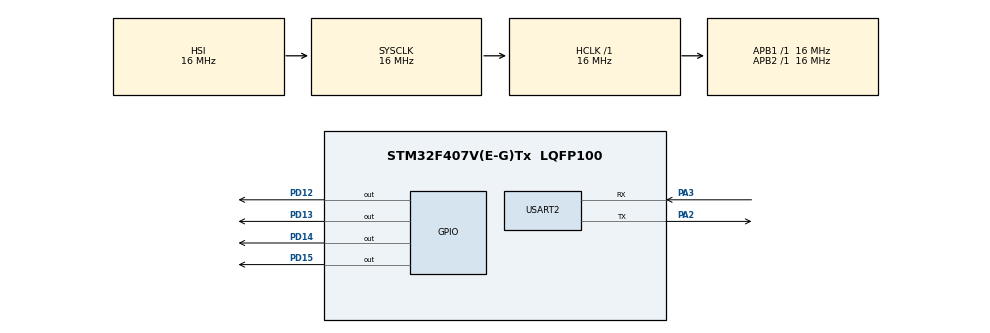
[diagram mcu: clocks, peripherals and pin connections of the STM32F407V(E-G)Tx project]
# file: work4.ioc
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Mcu.Family=STM32F4
Mcu.Name=STM32F407V(E-G)Tx
Mcu.Package=LQFP100
NVIC.PriorityGroup=NVIC_PRIORITYGROUP_4
PA2.Mode=Asynchronous
PA2.Signal=USART2_TX
PA3.Mode=Asynchronous
PA3.Signal=USART2_RX
PD12.Signal=GPIO_Output
PD13.Signal=GPIO_Output
PD14.Signal=GPIO_Output
PD15.Signal=GPIO_Output
ProjectManager.HeapSize=0x200
ProjectManager.StackSize=0x400
ProjectManager.TargetToolchain=STM32CubeIDE
RCC.AHBFreq_Value=16000000
RCC.APB1Freq_Value=16000000
RCC.APB2Freq_Value=16000000
RCC.CortexFreq_Value=16000000
RCC.HSE_VALUE=25000000
RCC.HSI_VALUE=16000000
RCC.LSE_VALUE=32768
RCC.SYSCLKFreq_VALUE=16000000
RCC.VCOOutputFreq_Value=192000000
USART2.VirtualMode=VM_ASYNC
board=custom

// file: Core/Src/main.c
/* USER CODE BEGIN Header */
/**
  ******************************************************************************
  * @file           : main.c
  * @brief          : Main program body
  ******************************************************************************
  * @attention
  *
  * Copyright (c) 2023 STMicroelectronics.
  * All rights reserved.
  *
  * This software is licensed under terms that can be found in the LICENSE file
  * in the root directory of this software component.
  * If no LICENSE file comes with this software, it is provided AS-IS.
  *
  ******************************************************************************
  */
/* USER CODE END Header */
#include "main.h"

UART_HandleTypeDef huart2;

void SystemClock_Config(void);
static void MX_GPIO_Init(void);
static void MX_USART2_UART_Init(void);

int main(void)
{

  /* MCU Configuration--------------------------------------------------------*/

  /* Reset of all peripherals, Initializes the Flash interface and the Systick. */
  HAL_Init();

  /* Configure the system clock */
  SystemClock_Config();

  /* Initialize all configured peripherals */
  MX_GPIO_Init();
  MX_USART2_UART_Init();

  /* Infinite loop */
  /* USER CODE BEGIN WHILE */
  while (1)
  {
	 uint8_t rcvBuf[1];
	 HAL_StatusTypeDef result;

	 result = HAL_UART_Receive(&huart2, rcvBuf, 1, 10);

	 if (result == HAL_OK)
	 {
		 switch (rcvBuf[0])
		 {
		 	 case 'q':
		 		 HAL_GPIO_WritePin(GPIOD, GPIO_PIN_15, GPIO_PIN_SET);
		 		 HAL_UART_Transmit(&huart2, (uint8_t *)" - Blue rgb ON\r\n", 16, HAL_MAX_DELAY);
		 		 break;
		 	 case 'a':
		 		 HAL_GPIO_WritePin(GPIOD, GPIO_PIN_15, GPIO_PIN_RESET);
		 		 HAL_UART_Transmit(&huart2, (uint8_t *)" - Blue rgb OFF\r\n", 17, HAL_MAX_DELAY);
		 		 break;
		 	 case 'w':
		 		 HAL_GPIO_WritePin(GPIOD, GPIO_PIN_14, GPIO_PIN_SET);
		 		 HAL_UART_Transmit(&huart2, (uint8_t *)" - Red rgb ON\r\n", 15, HAL_MAX_DELAY);
		 		 break;
		 	 case 's':
		 		 HAL_GPIO_WritePin(GPIOD, GPIO_PIN_14, GPIO_PIN_RESET);
		 		 HAL_UART_Transmit(&huart2, (uint8_t *)" - Red rgb OFF\r\n", 16, HAL_MAX_DELAY);
		 		 break;
		 	 case 'e':
		 		 HAL_GPIO_WritePin(GPIOD, GPIO_PIN_13, GPIO_PIN_SET);
		 		 HAL_UART_Transmit(&huart2, (uint8_t *)" - Orange rgb ON\r\n", 18, HAL_MAX_DELAY);
		 		 break;
		 	 case 'd':
		 		 HAL_GPIO_WritePin(GPIOD, GPIO_PIN_13, GPIO_PIN_RESET);
		 		 HAL_UART_Transmit(&huart2, (uint8_t *)" - Orange rgb OFF\r\n", 19, HAL_MAX_DELAY);
		 		 break;
		 	 case 'r':
		 		 HAL_GPIO_WritePin(GPIOD, GPIO_PIN_12, GPIO_PIN_SET);
		 		 HAL_UART_Transmit(&huart2, (uint8_t *)" - Green rgb ON\r\n", 17, HAL_MAX_DELAY);
		 		 break;
		 	 case 'f':
		 		 HAL_GPIO_WritePin(GPIOD, GPIO_PIN_12, GPIO_PIN_RESET);
		 		 HAL_UART_Transmit(&huart2, (uint8_t *)" - Green rgb OFF\r\n", 18, HAL_MAX_DELAY);
		 		 break;
		 	 case 't':
		 		 HAL_GPIO_WritePin(GPIOD, GPIO_PIN_12, GPIO_PIN_SET);
		 		 HAL_GPIO_WritePin(GPIOD, GPIO_PIN_13, GPIO_PIN_SET);
		 		 HAL_GPIO_WritePin(GPIOD, GPIO_PIN_14, GPIO_PIN_SET);
		 		 HAL_GPIO_WritePin(GPIOD, GPIO_PIN_15, GPIO_PIN_SET);
		 		 HAL_UART_Transmit(&huart2, (uint8_t *)" - ALL rgb diodes ON\r\n", 22, HAL_MAX_DELAY);
		 		 break;
		 	 case 'g':
		 		 HAL_GPIO_WritePin(GPIOD, GPIO_PIN_12, GPIO_PIN_RESET);
		 		 HAL_GPIO_WritePin(GPIOD, GPIO_PIN_13, GPIO_PIN_RESET);
		 		 HAL_GPIO_WritePin(GPIOD, GPIO_PIN_14, GPIO_PIN_RESET);
		 		 HAL_GPIO_WritePin(GPIOD, GPIO_PIN_15, GPIO_PIN_RESET);
		 		 HAL_UART_Transmit(&huart2, (uint8_t *)" - ALL rgb diodes OFF\r\n", 23, HAL_MAX_DELAY);
		 		 break;
		 	 default:
		 		 HAL_UART_Transmit(&huart2, (uint8_t *)" - Worng cmd\r\n", 11, HAL_MAX_DELAY);
		 		 break;

		 }

	 }

    /* USER CODE END WHILE */

  }
}

void SystemClock_Config(void)
{
  RCC_OscInitTypeDef RCC_OscInitStruct = {0};
  RCC_ClkInitTypeDef RCC_ClkInitStruct = {0};

  /** Configure the main internal regulator output voltage
  */
  __HAL_RCC_PWR_CLK_ENABLE();
  __HAL_PWR_VOLTAGESCALING_CONFIG(PWR_REGULATOR_VOLTAGE_SCALE1);

  /** Initializes the RCC Oscillators according to the specified parameters
  * in the RCC_OscInitTypeDef structure.
  */
  RCC_OscInitStruct.OscillatorType = RCC_OSCILLATORTYPE_HSI;
  RCC_OscInitStruct.HSIState = RCC_HSI_ON;
  RCC_OscInitStruct.HSICalibrationValue = RCC_HSICALIBRATION_DEFAULT;
  RCC_OscInitStruct.PLL.PLLState = RCC_PLL_NONE;
  if (HAL_RCC_OscConfig(&RCC_OscInitStruct) != HAL_OK)
  {
    Error_Handler();
  }

  /** Initializes the CPU, AHB and APB buses clocks
  */
  RCC_ClkInitStruct.ClockType = RCC_CLOCKTYPE_HCLK|RCC_CLOCKTYPE_SYSCLK
                              |RCC_CLOCKTYPE_PCLK1|RCC_CLOCKTYPE_PCLK2;
  RCC_ClkInitStruct.SYSCLKSource = RCC_SYSCLKSOURCE_HSI;
  RCC_ClkInitStruct.AHBCLKDivider = RCC_SYSCLK_DIV1;
  RCC_ClkInitStruct.APB1CLKDivider = RCC_HCLK_DIV1;
  RCC_ClkInitStruct.APB2CLKDivider = RCC_HCLK_DIV1;

  if (HAL_RCC_ClockConfig(&RCC_ClkInitStruct, FLASH_LATENCY_0) != HAL_OK)
  {
    Error_Handler();
  }
}

static void MX_USART2_UART_Init(void)
{

  huart2.Instance = USART2;
  huart2.Init.BaudRate = 115200;
  huart2.Init.WordLength = UART_WORDLENGTH_8B;
  huart2.Init.StopBits = UART_STOPBITS_1;
  huart2.Init.Parity = UART_PARITY_NONE;
  huart2.Init.Mode = UART_MODE_TX_RX;
  huart2.Init.HwFlowCtl = UART_HWCONTROL_NONE;
  huart2.Init.OverSampling = UART_OVERSAMPLING_16;
  if (HAL_UART_Init(&huart2) != HAL_OK)
  {
    Error_Handler();
  }

}

static void MX_GPIO_Init(void)
{
  GPIO_InitTypeDef GPIO_InitStruct = {0};

  /* GPIO Ports Clock Enable */
  __HAL_RCC_GPIOA_CLK_ENABLE();
  __HAL_RCC_GPIOD_CLK_ENABLE();

  /*Configure GPIO pin Output Level */
  HAL_GPIO_WritePin(GPIOD, GPIO_PIN_12|GPIO_PIN_13|GPIO_PIN_14|GPIO_PIN_15, GPIO_PIN_RESET);

  /*Configure GPIO pins : PD12 PD13 PD14 PD15 */
  GPIO_InitStruct.Pin = GPIO_PIN_12|GPIO_PIN_13|GPIO_PIN_14|GPIO_PIN_15;
  GPIO_InitStruct.Mode = GPIO_MODE_OUTPUT_PP;
  GPIO_InitStruct.Pull = GPIO_NOPULL;
  GPIO_InitStruct.Speed = GPIO_SPEED_FREQ_LOW;
  HAL_GPIO_Init(GPIOD, &GPIO_InitStruct);

}

void Error_Handler(void)
{
  __disable_irq();
  while (1)
  {
  }
}
